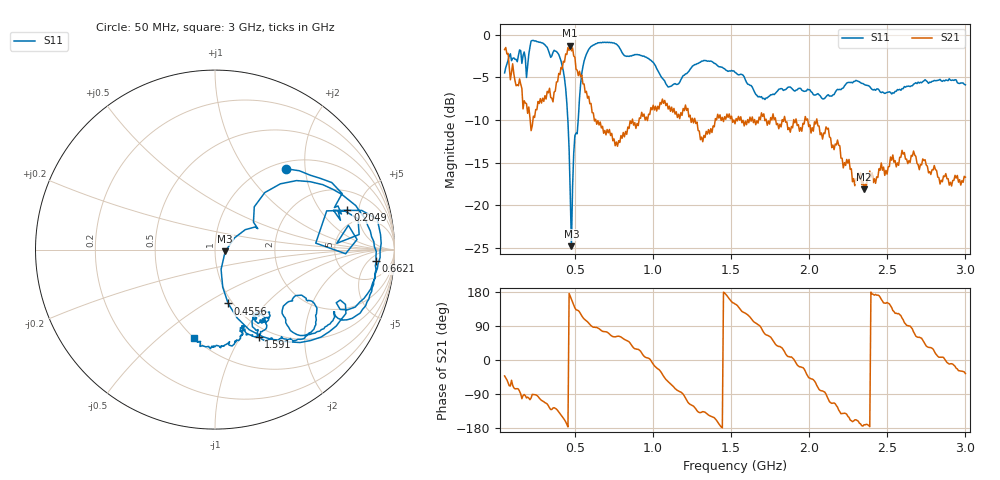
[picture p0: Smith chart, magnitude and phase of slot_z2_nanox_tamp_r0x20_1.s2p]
! nanovna_capture.py 2026-10-26T21:38:05+0900
! NanoVNA-F_V2 fw 0.6.0 SN 4A3639384505514B
! cal: load open short thru cal'ed  over 50000000-3000000000 Hz, 201 points
! points 401, avg 4
! slot line z=1.6, tampered Nano X, 0 deg, moved 20 mm across the slot toward SIG
# HZ S RI R 50
! S12 and S22 are not measured (written as 0)
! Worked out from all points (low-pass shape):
!   401 points, 50 MHz to 3 GHz, reference 50 ohm
!   highest |S21| = -1.26 dB at 470.4 MHz (marker M1); lowest = -18.1 dB at 2.351 GHz (marker M2)
!   |S21| within 3 dB of the highest: start of sweep to 82.18 MHz; 407.5 MHz to 515.8 MHz (108.2 MHz wide, 23.4 % of centre) (the widest 2 of 3)
!   lowest |S11| = -24.8 dB at 477.8 MHz (marker M3), VSWR 1.12, Z = 56 - j1.12 ohm
!   |S11| at or under -10 dB: 454.9 MHz to 521.2 MHz (66.25 MHz wide, 13.6 % of centre)
!   S12 and S22 are empty: the file has one direction only
!   S11 on the Smith chart (normalised r, x): 50 MHz: 1.12, +1.58; 204.9 MHz: 3.50, +3.76; 455.6 MHz: 0.95, -0.63; 662.1 MHz: 13, -9; 1.591 GHz: 0.87, -1.20; 3 GHz: 0.49, -0.66
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5e7  0.393 0.4509  0.608 -0.5494  0 0  0 0
1.68e8  0.7432 0.1355  -0.0252 -0.3671  0 0  0 0
2.04875e8  0.738 0.2189  -0.0683 -0.3713  0 0  0 0
2.4175e8  0.9197 -0.00812  -0.00803 -0.3277  0 0  0 0
3.745e8  0.6986 -0.3949  -0.2847 -0.3712  0 0  0 0
4.26125e8  0.3423 -0.5079  -0.6264 -0.312  0 0  0 0
4.55625e8  0.0732 -0.2999  -0.8413 -0.0498  0 0  0 0
4.70375e8  0.0338 -0.11  -0.8463 0.1788  0 0  0 0
4.7775e8  0.0569 -0.00993  -0.7588 0.2699  0 0  0 0
5.44125e8  0.4546 0.3845  -0.2584 0.5191  0 0  0 0
6.62125e8  0.8987 -0.065  0.053 0.3038  0 0  0 0
7.80125e8  0.7647 -0.3827  0.1092 0.2131  0 0  0 0
1.03825e9  0.4106 -0.433  0.3322 -0.1562  0 0  0 0
1.207875e9  0.5162 -0.2854  -0.0697 -0.3816  0 0  0 0
1.525e9  0.3338 -0.5019  -0.255 0.1602  0 0  0 0
1.591375e9  0.2432 -0.4876  -0.172 0.26  0 0  0 0
1.842125e9  0.2917 -0.376  0.3086 0.1242  0 0  0 0
2.019125e9  0.2245 -0.3997  0.1829 -0.2195  0 0  0 0
2.18875e9  0.2703 -0.3932  -0.1507 -0.1677  0 0  0 0
2.351e9  0.1942 -0.4748  -0.1227 -0.02  0 0  0 0
2.51325e9  0.1445 -0.4404  -0.1436 0.0893  0 0  0 0
3e9  -0.1189 -0.4951  0.1187 -0.0858  0 0  0 0
